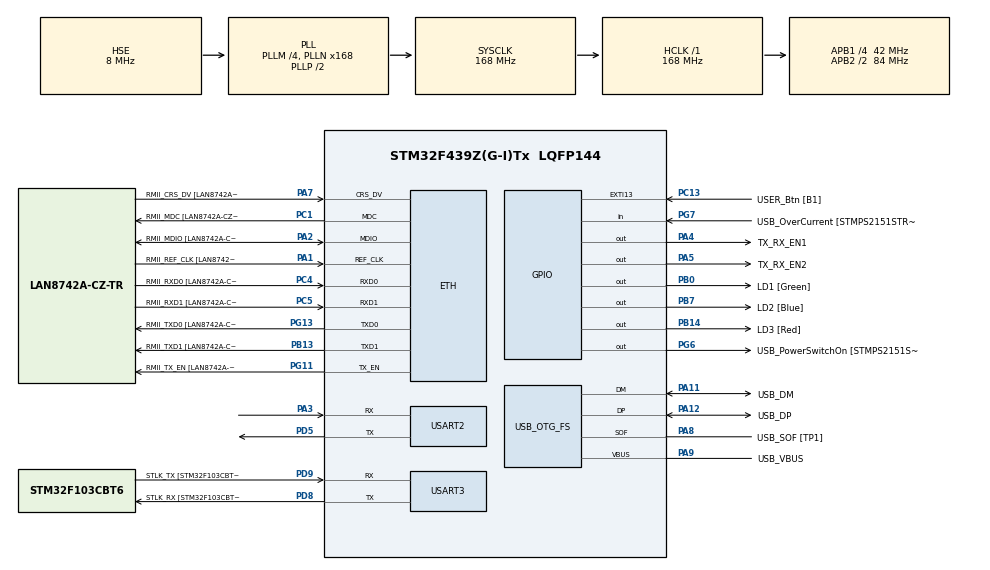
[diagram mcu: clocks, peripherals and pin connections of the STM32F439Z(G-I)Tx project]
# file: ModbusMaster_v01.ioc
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ETH.MediaInterface=HAL_ETH_RMII_MODE
ETH.PHY_Name=LAN8742A_PHY_ADDRESS
ETH.PHY_Value=0
ETH.PhyAddress=0
Mcu.Family=STM32F4
Mcu.Name=STM32F439Z(G-I)Tx
Mcu.Package=LQFP144
NVIC.PriorityGroup=NVIC_PRIORITYGROUP_4
NVIC.TIM2_IRQn=true\:0\:0\:false\:false\:true\:true\:true\:true
NVIC.USART2_IRQn=true\:0\:0\:false\:false\:true\:true\:true\:true
PA1.GPIO_Label=RMII_REF_CLK [LAN8742A-CZ-TR_REFCLK0]
PA1.Mode=RMII
PA1.Signal=ETH_REF_CLK
PA10.GPIO_Label=USB_ID
PA10.Signal=USB_OTG_FS_ID
PA11.GPIO_Label=USB_DM
PA11.Mode=Device_Only
PA11.Signal=USB_OTG_FS_DM
PA12.GPIO_Label=USB_DP
PA12.Mode=Device_Only
PA12.Signal=USB_OTG_FS_DP
PA13.GPIO_Label=TMS
PA13.Mode=Serial_Wire
PA13.Signal=SYS_JTMS-SWDIO
PA14.GPIO_Label=TCK
PA14.Mode=Serial_Wire
PA14.Signal=SYS_JTCK-SWCLK
PA2.GPIO_Label=RMII_MDIO [LAN8742A-CZ-TR_MDIO]
PA2.Mode=RMII
PA2.Signal=ETH_MDIO
PA3.Mode=Asynchronous
PA3.Signal=USART2_RX
PA4.GPIO_Label=TX_RX_EN1
PA4.Signal=GPIO_Output
PA5.GPIO_Label=TX_RX_EN2
PA5.Signal=GPIO_Output
PA7.GPIO_Label=RMII_CRS_DV [LAN8742A-CZ-TR_CRS_DV]
PA7.Mode=RMII
PA7.Signal=ETH_CRS_DV
PA8.GPIO_Label=USB_SOF [TP1]
PA8.Mode=Activate_SOF_FS
PA8.Signal=USB_OTG_FS_SOF
PA9.GPIO_Label=USB_VBUS
PA9.Mode=Activate_VBUS
PA9.Signal=USB_OTG_FS_VBUS
PB0.GPIO_Label=LD1 [Green]
PB0.Signal=GPIO_Output
PB13.GPIO_Label=RMII_TXD1 [LAN8742A-CZ-TR_TXD1]
PB13.Mode=RMII
PB13.Signal=ETH_TXD1
PB14.GPIO_Label=LD3 [Red]
PB14.Signal=GPIO_Output
PB7.GPIO_Label=LD2 [Blue]
PB7.Signal=GPIO_Output
PC1.GPIO_Label=RMII_MDC [LAN8742A-CZ-TR_MDC]
PC1.Mode=RMII
PC1.Signal=ETH_MDC
PC13.GPIO_Label=USER_Btn [B1]
PC13.Signal=GPXTI13
PC14/OSC32_IN.Signal=RCC_OSC32_IN
PC15/OSC32_OUT.Signal=RCC_OSC32_OUT
PC4.GPIO_Label=RMII_RXD0 [LAN8742A-CZ-TR_RXD0]
PC4.Mode=RMII
PC4.Signal=ETH_RXD0
PC5.GPIO_Label=RMII_RXD1 [LAN8742A-CZ-TR_RXD1]
PC5.Mode=RMII
PC5.Signal=ETH_RXD1
PD5.Mode=Asynchronous
PD5.Signal=USART2_TX
PD8.GPIO_Label=STLK_RX [STM32F103CBT6_PA3]
PD8.Mode=Asynchronous
PD8.Signal=USART3_TX
PD9.GPIO_Label=STLK_TX [STM32F103CBT6_PA2]
PD9.Mode=Asynchronous
PD9.Signal=USART3_RX
PG11.GPIO_Label=RMII_TX_EN [LAN8742A-CZ-TR_TXEN]
PG11.Mode=RMII
PG11.Signal=ETH_TX_EN
PG13.GPIO_Label=RMII_TXD0 [LAN8742A-CZ-TR_TXD0]
PG13.Mode=RMII
PG13.Signal=ETH_TXD0
PG6.GPIO_Label=USB_PowerSwitchOn [STMPS2151STR_EN]
PG6.Signal=GPIO_Output
PG7.GPIO_Label=USB_OverCurrent [STMPS2151STR_FAULT]
PG7.Signal=GPIO_Input
PH0/OSC_IN.GPIO_Label=MCO [STM32F103CBT6_PA8]
PH0/OSC_IN.Mode=HSE-External-Oscillator
PH0/OSC_IN.Signal=RCC_OSC_IN
PH1/OSC_OUT.Mode=HSE-External-Oscillator
PH1/OSC_OUT.Signal=RCC_OSC_OUT
ProjectManager.HeapSize=0x200
ProjectManager.StackSize=0x400
ProjectManager.TargetToolchain=STM32CubeIDE
RCC.48MHZClocksFreq_Value=48000000
RCC.AHBFreq_Value=168000000
RCC.APB1CLKDivider=RCC_HCLK_DIV4
RCC.APB1Freq_Value=42000000
RCC.APB1TimFreq_Value=84000000
RCC.APB2CLKDivider=RCC_HCLK_DIV2
RCC.APB2Freq_Value=84000000
RCC.APB2TimCLKDivider=2
RCC.APB2TimFreq_Value=168000000
RCC.CortexFreq_Value=168000000
RCC.HCLKFreq_Value=168000000
RCC.HSE_VALUE=8000000
RCC.HSI_VALUE=16000000
RCC.LSE_VALUE=32768
RCC.PLLM=4
RCC.PLLMUL=RCC_PLL_MUL9
RCC.PLLN=168
RCC.PLLQ=7
RCC.PRESCALERUSB=RCC_USBCLKSOURCE_PLL_DIV1_5
RCC.SYSCLKFreq_VALUE=168000000
RCC.SYSCLKSource=RCC_SYSCLKSOURCE_PLLCLK
RCC.SYSCLKSourceVirtual=RCC_SYSCLKSOURCE_PLLCLK
RCC.USBFreq_Value=48000000
RCC.VCOOutputFreq_Value=336000000
TIM2.Period=999
TIM2.Prescaler=83
USART2.VirtualMode=VM_ASYNC
USART3.VirtualMode=VM_ASYNC
USB_OTG_FS.VirtualMode=Device_Only
VP_TIM2_VS_ClockSourceINT.Mode=Internal
board=NUCLEO-F439ZI

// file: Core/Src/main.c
/* USER CODE BEGIN Header */
/**
  ******************************************************************************
  * @file           : main.c
  * @brief          : Main program body
  ******************************************************************************
  * @attention
  *
  * Copyright (c) 2024 STMicroelectronics.
  * All rights reserved.
  *
  * This software is licensed under terms that can be found in the LICENSE file
  * in the root directory of this software component.
  * If no LICENSE file comes with this software, it is provided AS-IS.
  *
  ******************************************************************************
  */
/* USER CODE END Header */
#include "main.h"
#include "string.h"

/* USER CODE BEGIN Includes */

#include "timer_ex.h"
#include "uart_qrbcom.h"
#include "modbus_ex.h"
#include "modbus_crc16.h"

/* USER CODE END Includes */

ETH_TxPacketConfig TxConfig;
ETH_DMADescTypeDef  DMARxDscrTab[ETH_RX_DESC_CNT]; /* Ethernet Rx DMA Descriptors */
ETH_DMADescTypeDef  DMATxDscrTab[ETH_TX_DESC_CNT]; /* Ethernet Tx DMA Descriptors */

ETH_HandleTypeDef heth;

TIM_HandleTypeDef htim2;

UART_HandleTypeDef huart2;
UART_HandleTypeDef huart3;

PCD_HandleTypeDef hpcd_USB_OTG_FS;

/* USER CODE BEGIN PV */

Tick_Time_t 	message1sTime;
Modbus_t		modbus;

/* USER CODE END PV */

void SystemClock_Config(void);
static void MX_GPIO_Init(void);
static void MX_ETH_Init(void);
static void MX_USART3_UART_Init(void);
static void MX_USB_OTG_FS_PCD_Init(void);
static void MX_TIM2_Init(void);
static void MX_USART2_UART_Init(void);

/* USER CODE BEGIN 0 */

uint32_t saniye;

/* USER CODE END 0 */

int main(void)
{

  /* MCU Configuration--------------------------------------------------------*/

  /* Reset of all peripherals, Initializes the Flash interface and the Systick. */
  HAL_Init();

  /* Configure the system clock */
  SystemClock_Config();

  /* Initialize all configured peripherals */
  MX_GPIO_Init();
  MX_ETH_Init();
  MX_USART3_UART_Init();
  MX_USB_OTG_FS_PCD_Init();
  MX_TIM2_Init();
  MX_USART2_UART_Init();
  /* USER CODE BEGIN 2 */

  UARTx_CellCommInit();

  HAL_TIM_Base_Start_IT(&htim2);
  Tick_Timer_Init(&message1sTime, 1000); // 1 sn

  /* USER CODE END 2 */

  /* Infinite loop */
  while (1)
  {

    /* USER CODE BEGIN 3 */

	  if (Tick_Timer_Check_Elapsed_Time(&message1sTime))
	  {
		Tick_Timer_Set_Time(&message1sTime, 1000);  // 1sn
		HAL_GPIO_TogglePin(GPIOB, GPIO_PIN_7);
	  }
	  if(HAL_GPIO_ReadPin(GPIOC, GPIO_PIN_13))
	  {
		  HAL_Delay(500);
		  Modbus_Read_Input_Registers(&modbus, 5, 0, 3);

	  }
	  Modbus_Master_Control(&modbus);

  }
  /* USER CODE END 3 */
}

void SystemClock_Config(void)
{
  RCC_OscInitTypeDef RCC_OscInitStruct = {0};
  RCC_ClkInitTypeDef RCC_ClkInitStruct = {0};

  /** Configure the main internal regulator output voltage
  */
  __HAL_RCC_PWR_CLK_ENABLE();
  __HAL_PWR_VOLTAGESCALING_CONFIG(PWR_REGULATOR_VOLTAGE_SCALE1);

  /** Initializes the RCC Oscillators according to the specified parameters
  * in the RCC_OscInitTypeDef structure.
  */
  RCC_OscInitStruct.OscillatorType = RCC_OSCILLATORTYPE_HSE;
  RCC_OscInitStruct.HSEState = RCC_HSE_ON;
  RCC_OscInitStruct.PLL.PLLState = RCC_PLL_ON;
  RCC_OscInitStruct.PLL.PLLSource = RCC_PLLSOURCE_HSE;
  RCC_OscInitStruct.PLL.PLLM = 4;
  RCC_OscInitStruct.PLL.PLLN = 168;
  RCC_OscInitStruct.PLL.PLLP = RCC_PLLP_DIV2;
  RCC_OscInitStruct.PLL.PLLQ = 7;
  if (HAL_RCC_OscConfig(&RCC_OscInitStruct) != HAL_OK)
  {
    Error_Handler();
  }

  /** Initializes the CPU, AHB and APB buses clocks
  */
  RCC_ClkInitStruct.ClockType = RCC_CLOCKTYPE_HCLK|RCC_CLOCKTYPE_SYSCLK
                              |RCC_CLOCKTYPE_PCLK1|RCC_CLOCKTYPE_PCLK2;
  RCC_ClkInitStruct.SYSCLKSource = RCC_SYSCLKSOURCE_PLLCLK;
  RCC_ClkInitStruct.AHBCLKDivider = RCC_SYSCLK_DIV1;
  RCC_ClkInitStruct.APB1CLKDivider = RCC_HCLK_DIV4;
  RCC_ClkInitStruct.APB2CLKDivider = RCC_HCLK_DIV2;

  if (HAL_RCC_ClockConfig(&RCC_ClkInitStruct, FLASH_LATENCY_5) != HAL_OK)
  {
    Error_Handler();
  }
}

static void MX_ETH_Init(void)
{

   static uint8_t MACAddr[6];

  heth.Instance = ETH;
  MACAddr[0] = 0x00;
  MACAddr[1] = 0x80;
  MACAddr[2] = 0xE1;
  MACAddr[3] = 0x00;
  MACAddr[4] = 0x00;
  MACAddr[5] = 0x00;
  heth.Init.MACAddr = &MACAddr[0];
  heth.Init.MediaInterface = HAL_ETH_RMII_MODE;
  heth.Init.TxDesc = DMATxDscrTab;
  heth.Init.RxDesc = DMARxDscrTab;
  heth.Init.RxBuffLen = 1524;

  if (HAL_ETH_Init(&heth) != HAL_OK)
  {
    Error_Handler();
  }

  memset(&TxConfig, 0 , sizeof(ETH_TxPacketConfig));
  TxConfig.Attributes = ETH_TX_PACKETS_FEATURES_CSUM | ETH_TX_PACKETS_FEATURES_CRCPAD;
  TxConfig.ChecksumCtrl = ETH_CHECKSUM_IPHDR_PAYLOAD_INSERT_PHDR_CALC;
  TxConfig.CRCPadCtrl = ETH_CRC_PAD_INSERT;

}

static void MX_TIM2_Init(void)
{

  TIM_ClockConfigTypeDef sClockSourceConfig = {0};
  TIM_MasterConfigTypeDef sMasterConfig = {0};

  htim2.Instance = TIM2;
  htim2.Init.Prescaler = 83;
  htim2.Init.CounterMode = TIM_COUNTERMODE_UP;
  htim2.Init.Period = 999;
  htim2.Init.ClockDivision = TIM_CLOCKDIVISION_DIV1;
  htim2.Init.AutoReloadPreload = TIM_AUTORELOAD_PRELOAD_DISABLE;
  if (HAL_TIM_Base_Init(&htim2) != HAL_OK)
  {
    Error_Handler();
  }
  sClockSourceConfig.ClockSource = TIM_CLOCKSOURCE_INTERNAL;
  if (HAL_TIM_ConfigClockSource(&htim2, &sClockSourceConfig) != HAL_OK)
  {
    Error_Handler();
  }
  sMasterConfig.MasterOutputTrigger = TIM_TRGO_RESET;
  sMasterConfig.MasterSlaveMode = TIM_MASTERSLAVEMODE_DISABLE;
  if (HAL_TIMEx_MasterConfigSynchronization(&htim2, &sMasterConfig) != HAL_OK)
  {
    Error_Handler();
  }

}

static void MX_USART2_UART_Init(void)
{

  huart2.Instance = USART2;
  huart2.Init.BaudRate = 115200;
  huart2.Init.WordLength = UART_WORDLENGTH_8B;
  huart2.Init.StopBits = UART_STOPBITS_1;
  huart2.Init.Parity = UART_PARITY_NONE;
  huart2.Init.Mode = UART_MODE_TX_RX;
  huart2.Init.HwFlowCtl = UART_HWCONTROL_NONE;
  huart2.Init.OverSampling = UART_OVERSAMPLING_16;
  if (HAL_UART_Init(&huart2) != HAL_OK)
  {
    Error_Handler();
  }

}

static void MX_USART3_UART_Init(void)
{

  huart3.Instance = USART3;
  huart3.Init.BaudRate = 115200;
  huart3.Init.WordLength = UART_WORDLENGTH_8B;
  huart3.Init.StopBits = UART_STOPBITS_1;
  huart3.Init.Parity = UART_PARITY_NONE;
  huart3.Init.Mode = UART_MODE_TX_RX;
  huart3.Init.HwFlowCtl = UART_HWCONTROL_NONE;
  huart3.Init.OverSampling = UART_OVERSAMPLING_16;
  if (HAL_UART_Init(&huart3) != HAL_OK)
  {
    Error_Handler();
  }

}

static void MX_USB_OTG_FS_PCD_Init(void)
{

  hpcd_USB_OTG_FS.Instance = USB_OTG_FS;
  hpcd_USB_OTG_FS.Init.dev_endpoints = 4;
  hpcd_USB_OTG_FS.Init.speed = PCD_SPEED_FULL;
  hpcd_USB_OTG_FS.Init.dma_enable = DISABLE;
  hpcd_USB_OTG_FS.Init.phy_itface = PCD_PHY_EMBEDDED;
  hpcd_USB_OTG_FS.Init.Sof_enable = ENABLE;
  hpcd_USB_OTG_FS.Init.low_power_enable = DISABLE;
  hpcd_USB_OTG_FS.Init.lpm_enable = DISABLE;
  hpcd_USB_OTG_FS.Init.vbus_sensing_enable = ENABLE;
  hpcd_USB_OTG_FS.Init.use_dedicated_ep1 = DISABLE;
  if (HAL_PCD_Init(&hpcd_USB_OTG_FS) != HAL_OK)
  {
    Error_Handler();
  }

}

static void MX_GPIO_Init(void)
{
  GPIO_InitTypeDef GPIO_InitStruct = {0};

  /* GPIO Ports Clock Enable */
  __HAL_RCC_GPIOC_CLK_ENABLE();
  __HAL_RCC_GPIOH_CLK_ENABLE();
  __HAL_RCC_GPIOA_CLK_ENABLE();
  __HAL_RCC_GPIOB_CLK_ENABLE();
  __HAL_RCC_GPIOD_CLK_ENABLE();
  __HAL_RCC_GPIOG_CLK_ENABLE();

  /*Configure GPIO pin Output Level */
  HAL_GPIO_WritePin(GPIOA, TX_RX_EN1_Pin|TX_RX_EN2_Pin, GPIO_PIN_RESET);

  /*Configure GPIO pin Output Level */
  HAL_GPIO_WritePin(GPIOB, LD1_Pin|LD3_Pin|LD2_Pin, GPIO_PIN_RESET);

  /*Configure GPIO pin Output Level */
  HAL_GPIO_WritePin(USB_PowerSwitchOn_GPIO_Port, USB_PowerSwitchOn_Pin, GPIO_PIN_RESET);

  /*Configure GPIO pin : USER_Btn_Pin */
  GPIO_InitStruct.Pin = USER_Btn_Pin;
  GPIO_InitStruct.Mode = GPIO_MODE_IT_RISING;
  GPIO_InitStruct.Pull = GPIO_NOPULL;
  HAL_GPIO_Init(USER_Btn_GPIO_Port, &GPIO_InitStruct);

  /*Configure GPIO pins : TX_RX_EN1_Pin TX_RX_EN2_Pin */
  GPIO_InitStruct.Pin = TX_RX_EN1_Pin|TX_RX_EN2_Pin;
  GPIO_InitStruct.Mode = GPIO_MODE_OUTPUT_PP;
  GPIO_InitStruct.Pull = GPIO_NOPULL;
  GPIO_InitStruct.Speed = GPIO_SPEED_FREQ_LOW;
  HAL_GPIO_Init(GPIOA, &GPIO_InitStruct);

  /*Configure GPIO pins : LD1_Pin LD3_Pin LD2_Pin */
  GPIO_InitStruct.Pin = LD1_Pin|LD3_Pin|LD2_Pin;
  GPIO_InitStruct.Mode = GPIO_MODE_OUTPUT_PP;
  GPIO_InitStruct.Pull = GPIO_NOPULL;
  GPIO_InitStruct.Speed = GPIO_SPEED_FREQ_LOW;
  HAL_GPIO_Init(GPIOB, &GPIO_InitStruct);

  /*Configure GPIO pin : USB_PowerSwitchOn_Pin */
  GPIO_InitStruct.Pin = USB_PowerSwitchOn_Pin;
  GPIO_InitStruct.Mode = GPIO_MODE_OUTPUT_PP;
  GPIO_InitStruct.Pull = GPIO_NOPULL;
  GPIO_InitStruct.Speed = GPIO_SPEED_FREQ_LOW;
  HAL_GPIO_Init(USB_PowerSwitchOn_GPIO_Port, &GPIO_InitStruct);

  /*Configure GPIO pin : USB_OverCurrent_Pin */
  GPIO_InitStruct.Pin = USB_OverCurrent_Pin;
  GPIO_InitStruct.Mode = GPIO_MODE_INPUT;
  GPIO_InitStruct.Pull = GPIO_NOPULL;
  HAL_GPIO_Init(USB_OverCurrent_GPIO_Port, &GPIO_InitStruct);

}

void Error_Handler(void)
{
  __disable_irq();
  while (1)
  {
  }
}
